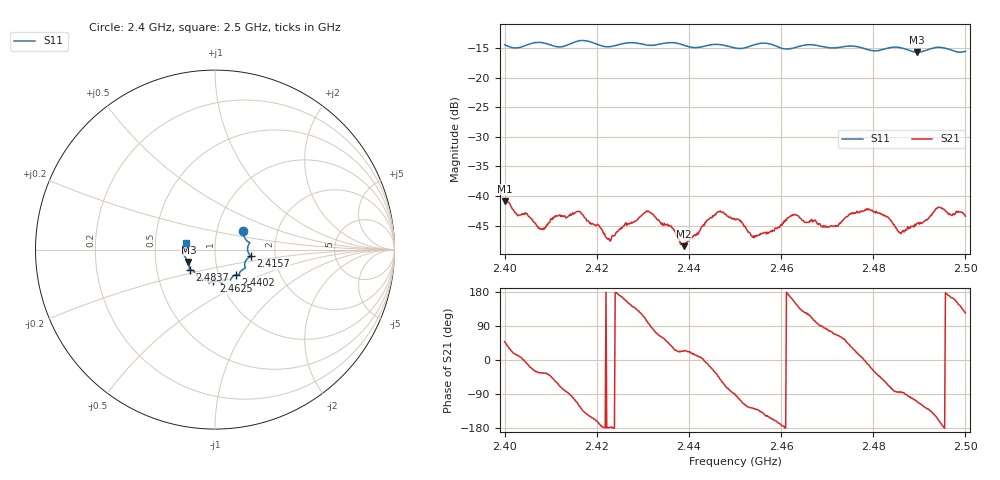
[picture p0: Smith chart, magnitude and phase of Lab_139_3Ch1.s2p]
# Hz S RI R 50
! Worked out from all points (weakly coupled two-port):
!   601 points, 2.4 GHz to 2.5 GHz, reference 50 ohm
!   highest |S21| = -40.87 dB at 2.4 GHz (marker M1); lowest = -48.5 dB at 2.4388 GHz (marker M2)
!   lowest |S11| = -15.7 dB at 2.4895 GHz (marker M3), VSWR 1.39, Z = 36.8 - j5.18 ohm
!   |S11| at or under -10 dB: start of sweep to end of sweep
!   S12 and S22 are empty: the file has one direction only
!   S11 on the Smith chart (normalised r, x): 2.4 GHz: 1.34, +0.29; 2.4157 GHz: 1.49, -0.11; 2.4402 GHz: 1.20, -0.35; 2.4625 GHz: 0.92, -0.34; 2.4837 GHz: 0.74, -0.17; 2.5 GHz: 0.72, +0.05
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2.4e9  0.1568 0.1057  0.00603 0.00675  0 0  0 0
2.407833e9  0.194 0.0379  0.00442 -0.00293  0 0  0 0
2.415667e9  0.1988 -0.0365  -0.00264 -0.0069  0 0  0 0
2.416667e9  0.2016 -0.04  -0.00444 -0.00563  0 0  0 0
2.422667e9  0.1674 -0.0711  -0.00436 -0.000161  0 0  0 0
2.430667e9  0.1499 -0.1147  -0.00211 0.00702  0 0  0 0
2.433333e9  0.1358 -0.1333  0.00245 0.0058  0 0  0 0
2.438833e9  0.1252 -0.1401  0.00346 0.00148  0 0  0 0
2.440167e9  0.1144 -0.1406  0.00404 0.00165  0 0  0 0
2.446333e9  0.0846 -0.1706  0.0053 -0.00506  0 0  0 0
2.45e9  0.0642 -0.1658  3.05e-06 -0.00635  0 0  0 0
2.454333e9  0.0373 -0.1862  -0.00296 -0.00353  0 0  0 0
2.4625e9  -0.00986 -0.1765  -0.00652 0.00245  0 0  0 0
2.466667e9  -0.033 -0.1863  -0.00233 0.00589  0 0  0 0
2.471833e9  -0.0663 -0.1654  0.00214 0.00509  0 0  0 0
2.478667e9  -0.1028 -0.1388  0.00766 -0.00132  0 0  0 0
2.483333e9  -0.1381 -0.1119  0.00242 -0.00607  0 0  0 0
2.483667e9  -0.1399 -0.1116  0.00208 -0.00598  0 0  0 0
2.485833e9  -0.1444 -0.1059  0.000349 -0.00485  0 0  0 0
2.4895e9  -0.1485 -0.0685  -0.00195 -0.00555  0 0  0 0
2.494167e9  -0.1784 -0.0252  -0.00747 -0.00299  0 0  0 0
2.5e9  -0.1625 0.0364  -0.00376 0.00558  0 0  0 0
